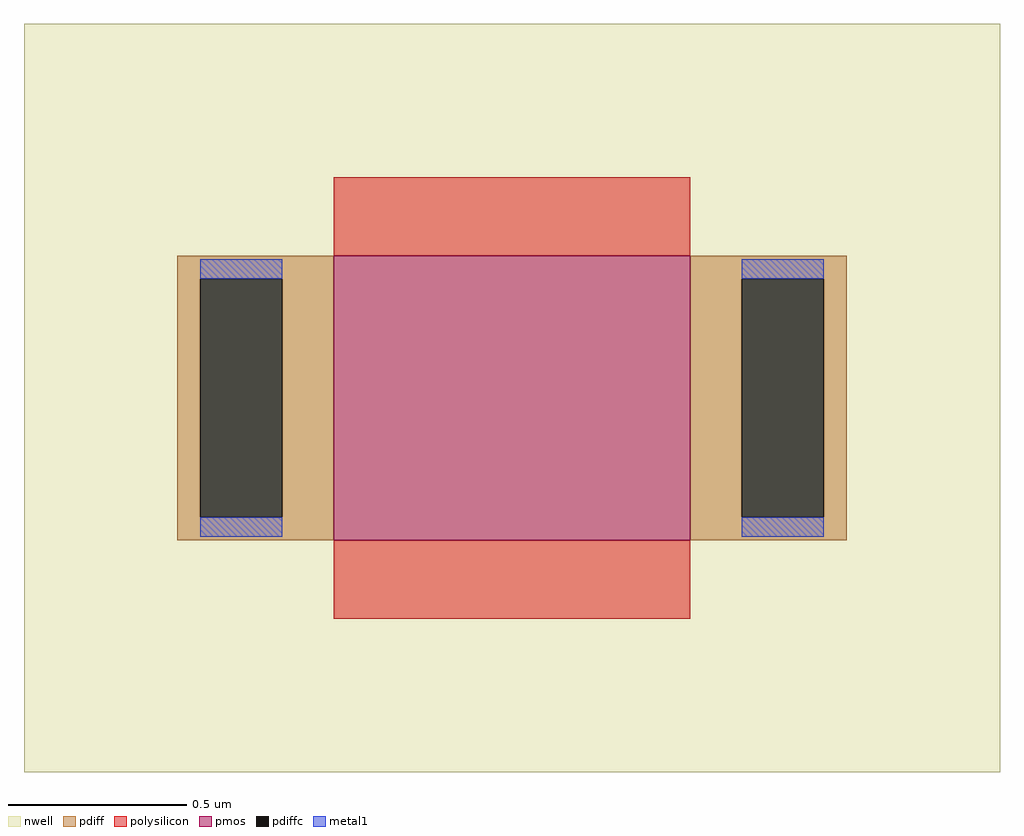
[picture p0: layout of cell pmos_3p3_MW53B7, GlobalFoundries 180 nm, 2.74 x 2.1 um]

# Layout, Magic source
magic
tech gf180mcuC
magscale 1 10
<< nwell >>
rect -274 -210 274 210
<< pmos >>
rect -100 -80 100 80
<< pdiff >>
rect -188 67 -100 80
rect -188 -67 -175 67
rect -129 -67 -100 67
rect -188 -80 -100 -67
rect 100 67 188 80
rect 100 -67 129 67
rect 175 -67 188 67
rect 100 -80 188 -67
<< pdiffc >>
rect -175 -67 -129 67
rect 129 -67 175 67
<< polysilicon >>
rect -100 80 100 124
rect -100 -124 100 -80
<< metal1 >>
rect -175 67 -129 78
rect -175 -78 -129 -67
rect 129 67 175 78
rect 129 -78 175 -67
<< properties >>
string gencell pmos_3p3
string library gf180mcu
string parameters w 0.8 l 1 m 1 nf 1 diffcov 100 polycov 100 guard 0 glc 0 grc 0 gtc 0 gbc 0 tbcov 100 rlcov 100 topc 0 botc 0 poverlap 0 doverlap 1 lmin 0.28 wmin 0.22 full_metal 0 compatible {pmos_3p3 pmos_6p0}
<< end >>
